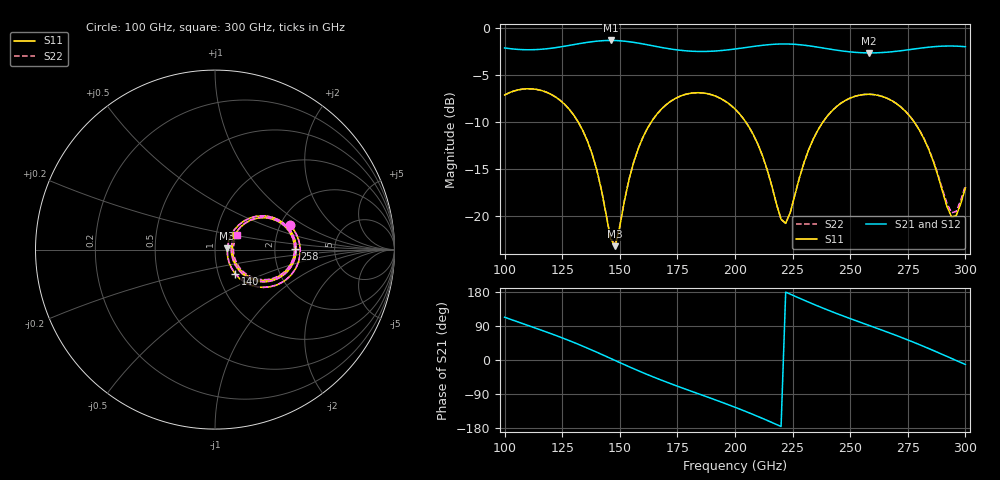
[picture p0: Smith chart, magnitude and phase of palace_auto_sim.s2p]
#  GHZ S DB R 50
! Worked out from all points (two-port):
!   101 points, 100 GHz to 300 GHz, reference 50 ohm
!   highest |S21| = -1.32 dB at 146 GHz (marker M1); lowest = -2.6 dB at 258 GHz (marker M2)
!   |S21| within 3 dB of the highest: start of sweep to end of sweep
!   lowest |S11| = -23.2 dB at 148 GHz (marker M3), VSWR 1.15, Z = 57.3 + j0.901 ohm
!   |S11| at or under -10 dB: 131.9 GHz to 163.7 GHz (31.77 GHz wide, 21.5 % of centre); 204.6 GHz to 238.2 GHz (33.58 GHz wide, 15.2 % of centre); 277.7 GHz to end of sweep
!   |S22| runs from -23.1 to -6.5 dB; largest |S21 - S12| = 1.5e-13
!   S11 on the Smith chart (normalised r, x): 100 GHz: 2.26, +0.76; 140 GHz: 1.20, -0.33; 258 GHz: 2.60, +0.02; 300 GHz: 1.25, +0.20
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100  -7.13 17.9  -2.12 113.0  -2.12 113.0  -7.13 18.0
110  -6.47 -0.6  -2.32 91.5  -2.32 91.5  -6.47 -0.5
118  -6.82 -15.4  -2.22 74.2  -2.22 74.2  -6.82 -15.3
134  -10.95 -44.6  -1.60 36.4  -1.60 36.4  -10.95 -44.3
140  -15.11 -50.3  -1.40 20.5  -1.40 20.5  -15.10 -49.9
146  -22.46 -23.8  -1.32 4.2  -1.32 4.2  -22.36 -23.3
148  -23.23 6.5  -1.33 -1.3  -1.33 -1.3  -23.10 6.6
158  -12.85 44.6  -1.61 -28.2  -1.61 -28.2  -12.84 44.5
168  -8.65 29.0  -2.06 -53.0  -2.06 -53.0  -8.65 29.0
184  -6.89 0.2  -2.49 -88.8  -2.49 -88.8  -6.89 0.3
200  -8.63 -27.4  -2.23 -124.7  -2.23 -124.7  -8.63 -27.3
210  -12.41 -40.7  -1.90 -149.2  -1.90 -149.2  -12.43 -40.5
220  -20.37 -15.3  -1.70 -175.5  -1.70 -175.5  -20.39 -14.9
222  -20.80 5.2  -1.70 179.1  -1.70 179.1  -20.80 5.6
234  -11.81 39.5  -1.96 147.4  -1.96 147.4  -11.81 39.8
246  -8.01 21.3  -2.43 118.4  -2.43 118.4  -8.00 21.7
258  -7.06 0.3  -2.65 91.6  -2.65 91.6  -7.06 0.8
268  -7.73 -17.1  -2.53 69.3  -2.53 69.3  -7.72 -16.5
282  -11.79 -37.9  -2.10 35.6  -2.10 35.6  -11.75 -36.8
294  -20.13 -7.2  -1.92 4.1  -1.92 4.1  -19.68 -6.3
296  -19.98 11.2  -1.93 -1.2  -1.93 -1.2  -19.53 10.9
300  -17.03 34.3  -1.99 -11.8  -1.99 -11.8  -16.77 33.0
